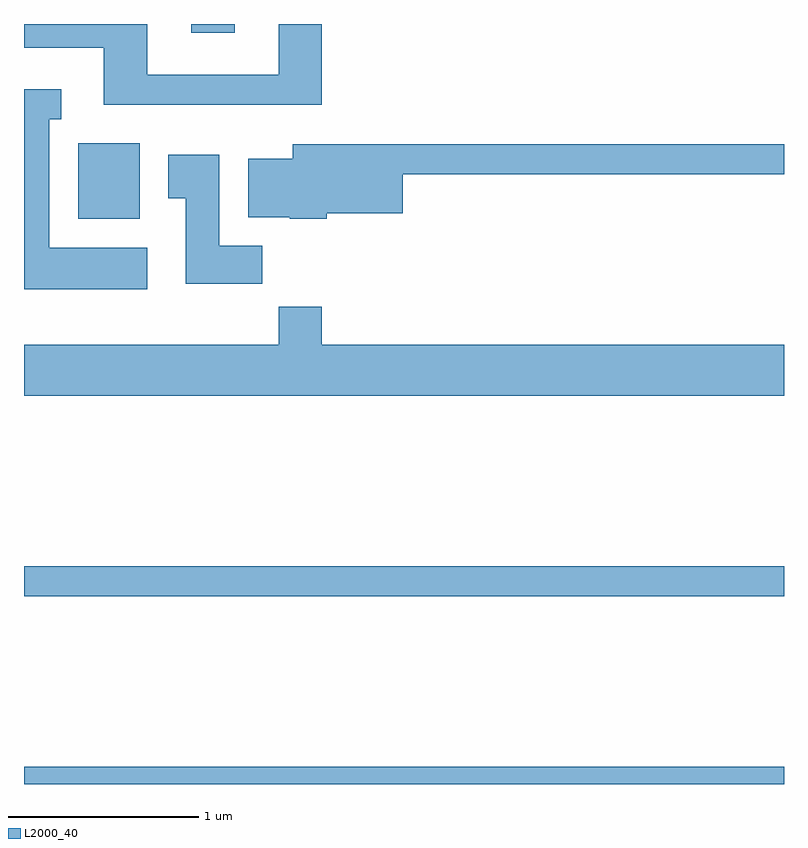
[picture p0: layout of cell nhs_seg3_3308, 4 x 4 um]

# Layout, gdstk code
import gdstk
lib = gdstk.Library(unit=1e-6, precision=1e-09)
def R(c, l, rs):  # rectangles x0, y0, x1, y1
    for r in rs: c.add(gdstk.rectangle(r[:2], r[2:], *l))
def P(c, l, *ps):  # polygons
    for p in ps: c.add(gdstk.Polygon(p, *l))
L2000_40 = (2000, 40)

nhs_seg3_3308 = lib.new_cell('nhs_seg3_3308')
R(nhs_seg3_3308, L2000_40, [(281.611,1203.892,285.611,1203.984), (281.611,1204.881,285.611,1205.039), (281.896,1206.866,282.219,1207.264), (282.491,1207.846,282.719,1207.892)])
P(nhs_seg3_3308, L2000_40, [(283.179,1207.892),(282.951,1207.892),(282.951,1207.624),(282.259,1207.624),(282.259,1207.892),(281.611,1207.892),(281.611,1207.766),(282.031,1207.766),(282.031,1207.466),(283.179,1207.466)],
  [(282.259,1206.714),(281.744,1206.714),(281.744,1207.391),(281.808,1207.391),(281.808,1207.549),(281.611,1207.549),(281.611,1206.496),(282.259,1206.496)],
  [(283.204,1206.896),(283.604,1206.896),(283.604,1207.101),(285.611,1207.101),(285.611,1207.259),(283.026,1207.259),(283.026,1207.184),(282.791,1207.184),(282.791,1206.876),(283.01,1206.876),(283.01,1206.866),(283.204,1206.866)],
  [(282.864,1206.724),(282.639,1206.724),(282.639,1207.204),(282.371,1207.204),(282.371,1206.976),(282.461,1206.976),(282.461,1206.526),(282.864,1206.526)],
  [(285.611,1206.204),(283.179,1206.204),(283.179,1206.404),(282.951,1206.404),(282.951,1206.204),(281.611,1206.204),(281.611,1205.936),(285.611,1205.936)])

lib.write_gds('nhs_seg3_3308.gds')
